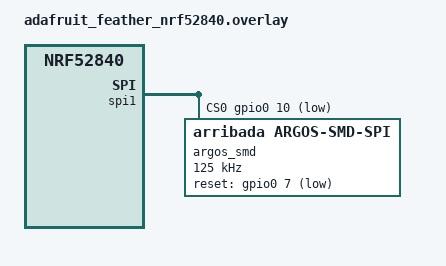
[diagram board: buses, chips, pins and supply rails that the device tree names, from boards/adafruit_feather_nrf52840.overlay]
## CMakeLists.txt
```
# Copyright (c) 2025 Arribada Initiative
# SPDX-License-Identifier: Apache-2.0

cmake_minimum_required(VERSION 3.20.0)
find_package(Zephyr REQUIRED HINTS $ENV{ZEPHYR_BASE})
project(spi_debug)

target_sources(app PRIVATE src/main.c)
```

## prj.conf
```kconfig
# Copyright (c) 2025 Arribada Initiative
# SPDX-License-Identifier: Apache-2.0

# Logging
CONFIG_LOG=y
CONFIG_LOG_DEFAULT_LEVEL=3
CONFIG_LOG_MODE_IMMEDIATE=y

# RTT Console for logs (via J-Link)
CONFIG_USE_SEGGER_RTT=y
CONFIG_RTT_CONSOLE=y
CONFIG_UART_CONSOLE=n
CONFIG_CONSOLE=y

# SPI support
CONFIG_SPI=y
CONFIG_SPI_LOG_LEVEL_WRN=y

# GPIO for CS/IRQ/Reset pins
CONFIG_GPIO=y

# Argos SMD SPI driver
CONFIG_ARGOS_SMD=y
CONFIG_ARGOS_SMD_SPI=y
CONFIG_ARGOS_SMD_LOG_LEVEL_DBG=y

# Main stack size
CONFIG_MAIN_STACK_SIZE=4096
```

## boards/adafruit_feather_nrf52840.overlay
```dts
/*
 * Copyright (c) 2025 Arribada Initiative
 * SPDX-License-Identifier: Apache-2.0
 *
 * SPI Debug overlay for Adafruit Feather nRF52840
 *
 * Wiring (Feather -> Argos SMD/STM32):
 * - SCK  (P0.14) -> SPI_CLK  (STM32 PA1)
 * - MOSI (P0.13) -> SPI_MOSI (STM32 PB5)
 * - MISO (P0.15) -> SPI_MISO (STM32 PB4)
 * - CS   (P0.10) -> SPI_NSS  (STM32 PA15)
 * - RST  (P0.07) -> RESET    (optional)
 */

/* Disable NFC to use P0.09/P0.10 as GPIO */
&uicr {
	nfct-pins-as-gpios;
};

&spi1 {
	compatible = "nordic,nrf-spim";
	status = "okay";
	cs-gpios = <&gpio0 10 GPIO_ACTIVE_LOW>;

	argos_smd: argos-smd@0 {
		compatible = "arribada,argos-smd-spi";
		reg = <0>;
		spi-max-frequency = <125000>;  /* 125 kHz - minimum for nRF52840 */
		reset-gpios = <&gpio0 7 GPIO_ACTIVE_LOW>;
	};
};
```

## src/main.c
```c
/*
 * Copyright (c) 2025 Arribada Initiative
 * SPDX-License-Identifier: Apache-2.0
 *
 * SPI Debug Sample - Pipelined Single-Transaction Protocol
 *
 * This sample tests the pipelined SPI protocol:
 * - Each transaction is 64 bytes
 * - Master sends command, slave sends response to PREVIOUS command
 * - For immediate response, send command then NOP
 */

#include <zephyr/kernel.h>
#include <zephyr/device.h>
#include <zephyr/drivers/spi.h>
#include <zephyr/drivers/gpio.h>
#include <zephyr/logging/log.h>
#include <string.h>
#include <stdio.h>
#include <errno.h>

LOG_MODULE_REGISTER(spi_debug, LOG_LEVEL_DBG);

/* Get SPI bus from devicetree */
#define SPI_NODE DT_NODELABEL(spi1)
static const struct device *spi_dev = DEVICE_DT_GET(SPI_NODE);

/* CS GPIO - get from spi1 cs-gpios */
static const struct gpio_dt_spec cs_gpio = GPIO_DT_SPEC_GET_BY_IDX(SPI_NODE, cs_gpios, 0);

/* SPI config - Mode 0, 8-bit, MSB first */
static struct spi_config spi_cfg = {
	.frequency = 125000,  /* 125 kHz */
	.operation = SPI_WORD_SET(8) | SPI_TRANSFER_MSB | SPI_OP_MODE_MASTER,
	.slave = 0,
	.cs = {
		.gpio = GPIO_DT_SPEC_GET_BY_IDX(SPI_NODE, cs_gpios, 0),
		.delay = 0,
	},
};

/* Protocol constants */
#define SPI_TRANSACTION_SIZE  64   /* Fixed transaction size */
#define MAGIC_REQUEST         0xAA
#define MAGIC_RESPONSE        0x55
#define IDLE_PATTERN          0xAA

/* Commands - must match argos_smd_spi.h */
#define CMD_NOP         0x00  /* No operation - just to get previous response */
#define CMD_PING        0x02  /* ARGOS_SPI_CMD_PING */
#define CMD_GET_VERSION 0x05  /* ARGOS_SPI_CMD_READ_VERSION */
#define CMD_GET_ADDR    0x07  /* ARGOS_SPI_CMD_READ_ADDR */
#define CMD_GET_ID      0x08  /* ARGOS_SPI_CMD_READ_ID */
#define CMD_GET_SN      0x09  /* ARGOS_SPI_CMD_READ_SN */
#define CMD_GET_RCONF   0x0A  /* ARGOS_SPI_CMD_READ_RCONF */

/* Timing */
#define INTER_TRANSACTION_DELAY_MS  5   /* Small delay between transactions */
#define INTER_TEST_DELAY_MS         100 /* Delay between tests */

/* Sequence number */
static uint8_t g_seq_num = 0;

/* Test statistics */
static int tests_passed = 0;
static int tests_failed = 0;

/* CRC-8 CCITT */
static uint8_t crc8_ccitt(const uint8_t *data, size_t len)
{
	uint8_t crc = 0x00;
	for (size_t i = 0; i < len; i++) {
		crc ^= data[i];
		for (int bit = 0; bit < 8; bit++) {
			if (crc & 0x80) {
				crc = (crc << 1) ^ 0x07;
			} else {
				crc <<= 1;
			}
		}
	}
	return crc;
}

/**
 * @brief Do a single 64-byte SPI transaction
 *
 * @param tx_buf TX buffer (64 bytes)
 * @param rx_buf RX buffer (64 bytes)
 * @return 0 on success, negative on error
 */
static int spi_transaction(uint8_t *tx_buf, uint8_t *rx_buf)
{
	struct spi_buf spi_tx = { .buf = tx_buf, .len = SPI_TRANSACTION_SIZE };
	struct spi_buf spi_rx = { .buf = rx_buf, .len = SPI_TRANSACTION_SIZE };
	struct spi_buf_set tx_set = { .buffers = &spi_tx, .count = 1 };
	struct spi_buf_set rx_set = { .buffers = &spi_rx, .count = 1 };

	return spi_transceive(spi_dev, &spi_cfg, &tx_set, &rx_set);
}

/**
 * @brief Build a command frame in buffer
 *
 * @param buf Output buffer (must be SPI_TRANSACTION_SIZE bytes)
 * @param cmd Command byte
 * @param data Optional command data
 * @param data_len Length of data
 * @return Frame length
 */
static size_t build_command_frame(uint8_t *buf, uint8_t cmd,
				  const uint8_t *data, size_t data_len)
{
	/* Build frame: MAGIC SEQ CMD LEN DATA CRC */
	buf[0] = MAGIC_REQUEST;
	buf[1] = g_seq_num++;
	buf[2] = cmd;
	buf[3] = (uint8_t)data_len;

	if (data_len > 0 && data != NULL) {
		memcpy(&buf[4], data, data_len);
	}

	buf[4 + data_len] = crc8_ccitt(buf, 4 + data_len);

	/* Fill rest with 0xFF */
	size_t frame_len = 5 + data_len;
	memset(&buf[frame_len], 0xFF, SPI_TRANSACTION_SIZE - frame_len);

	return frame_len;
}

/**
 * @brief Find response in RX buffer
 *
 * @param rx_buf RX buffer
 * @param status Output: response status
 * @param data Output: response data (optional)
 * @param data_len In/Out: data buffer size / received data length
 * @return 0 if response found, -1 if not found
 */
static int parse_response(const uint8_t *rx_buf, uint8_t *status,
			  uint8_t *data, size_t *data_len)
{
	/* Find response magic, skipping idle pattern */
	int offset = 0;
	while (offset < SPI_TRANSACTION_SIZE - 5) {
		if (rx_buf[offset] == MAGIC_RESPONSE) {
			break;
		}
		if (rx_buf[offset] != IDLE_PATTERN && rx_buf[offset] != 0xFF) {
			/* Unknown pattern - might be partial response */
			break;
		}
		offset++;
	}

	if (offset >= SPI_TRANSACTION_SIZE - 5 || rx_buf[offset] != MAGIC_RESPONSE) {
		return -1;  /* No valid response */
	}

	/* Parse response: MAGIC SEQ STATUS LEN DATA CRC */
	uint8_t rsp_status = rx_buf[offset + 2];
	uint8_t rsp_len = rx_buf[offset + 3];

	if (status) {
		*status = rsp_status;
	}

	if (data && data_len && rsp_len > 0) {
		size_t copy_len = (rsp_len < *data_len) ? rsp_len : *data_len;
		memcpy(data, &rx_buf[offset + 4], copy_len);
		*data_len = copy_len;
	} else if (data_len) {
		*data_len = 0;
	}

	return 0;
}

/**
 * @brief Send command and get response using pipelined protocol
 *
 * Sends two transactions:
 * 1. Send command, get previous response (ignore)
 * 2. Send NOP, get response to our command
 *
 * @return 0 on success, negative on error
 */
static int spi_send_command(uint8_t cmd, const uint8_t *tx_data, size_t tx_len,
			    uint8_t *rx_data, size_t *rx_len, uint8_t *status)
{
	uint8_t tx_buf[SPI_TRANSACTION_SIZE];
	uint8_t rx_buf[SPI_TRANSACTION_SIZE];
	int ret;

	if (!device_is_ready(spi_dev)) {
		LOG_ERR("SPI device not ready");
		return -ENODEV;
	}

	/* Transaction 1: Send command */
	size_t frame_len = build_command_frame(tx_buf, cmd, tx_data, tx_len);
	LOG_DBG("TX1 [%s]: %02X %02X %02X %02X %02X",
		cmd == CMD_NOP ? "NOP" : "CMD",
		tx_buf[0], tx_buf[1], tx_buf[2], tx_buf[3], tx_buf[4]);

	memset(rx_buf, 0x00, sizeof(rx_buf));
	ret = spi_transaction(tx_buf, rx_buf);
	if (ret < 0) {
		LOG_ERR("Transaction 1 failed: %d", ret);
		return ret;
	}

	LOG_DBG("RX1: %02X %02X %02X %02X %02X %02X %02X %02X",
		rx_buf[0], rx_buf[1], rx_buf[2], rx_buf[3],
		rx_buf[4], rx_buf[5], rx_buf[6], rx_buf[7]);

	/* Small delay for STM32 to process */
	k_msleep(INTER_TRANSACTION_DELAY_MS);

	/* Transaction 2: Send NOP to get response */
	build_command_frame(tx_buf, CMD_NOP, NULL, 0);
	LOG_DBG("TX2 [NOP]: %02X %02X %02X %02X %02X",
		tx_buf[0], tx_buf[1], tx_buf[2], tx_buf[3], tx_buf[4]);

	memset(rx_buf, 0x00, sizeof(rx_buf));
	ret = spi_transaction(tx_buf, rx_buf);
	if (ret < 0) {
		LOG_ERR("Transaction 2 failed: %d", ret);
		return ret;
	}

	LOG_DBG("RX2: %02X %02X %02X %02X %02X %02X %02X %02X",
		rx_buf[0], rx_buf[1], rx_buf[2], rx_buf[3],
		rx_buf[4], rx_buf[5], rx_buf[6], rx_buf[7]);

	/* Parse response */
	ret = parse_response(rx_buf, status, rx_data, rx_len);
	if (ret < 0) {
		LOG_ERR("No valid response (RX: %02X %02X %02X %02X)",
			rx_buf[0], rx_buf[1], rx_buf[2], rx_buf[3]);
		return -EBADMSG;
	}

	LOG_DBG("Response: STATUS=0x%02X LEN=%d", *status, rx_len ? (int)*rx_len : 0);
	return 0;
}

/* Test 1: GPIO status check */
static void test_gpio_status(void)
{
	LOG_INF("========================================");
	LOG_INF("TEST 1: GPIO STATUS CHECK");
	LOG_INF("========================================");

	LOG_INF("CS GPIO: Port=%s, Pin=%d",
		cs_gpio.port ? cs_gpio.port->name : "NULL", cs_gpio.pin);

	if (!gpio_is_ready_dt(&cs_gpio)) {
		LOG_ERR("CS GPIO NOT READY!");
		tests_failed++;
	} else {
		LOG_INF("CS GPIO: READY");
		tests_passed++;
	}
}

/* Test 2: Basic SPI communication */
static void test_basic_spi(void)
{
	LOG_INF("========================================");
	LOG_INF("TEST 2: BASIC SPI COMMUNICATION");
	LOG_INF("========================================");

	uint8_t tx_buf[SPI_TRANSACTION_SIZE];
	uint8_t rx_buf[SPI_TRANSACTION_SIZE];

	/* Send a simple transaction to check hardware */
	memset(tx_buf, 0xFF, sizeof(tx_buf));
	memset(rx_buf, 0xAB, sizeof(rx_buf));

	int ret = spi_transaction(tx_buf, rx_buf);
	if (ret < 0) {
		LOG_ERR("SPI transaction failed: %d", ret);
		tests_failed++;
		return;
	}

	LOG_INF("TX: FF FF FF FF ...");
	LOG_INF("RX: %02X %02X %02X %02X %02X %02X %02X %02X",
		rx_buf[0], rx_buf[1], rx_buf[2], rx_buf[3],
		rx_buf[4], rx_buf[5], rx_buf[6], rx_buf[7]);

	/* Check if we got something back */
	if (rx_buf[0] == 0xAB) {
		LOG_ERR("RX buffer unchanged - SPI RX not working");
		tests_failed++;
	} else if (rx_buf[0] == IDLE_PATTERN) {
		LOG_INF("Got idle pattern (0xAA) - STM32 is responding!");
		tests_passed++;
	} else if (rx_buf[0] == 0xFF) {
		LOG_WRN("Got 0xFF - MISO might be floating");
		tests_passed++;  /* Hardware works, just no slave response */
	} else {
		LOG_INF("Got pattern 0x%02X - communication OK", rx_buf[0]);
		tests_passed++;
	}
}

/* Test 3: PING command */
static void test_ping(void)
{
	LOG_INF("========================================");
	LOG_INF("TEST 3: PING (Pipelined Protocol)");
	LOG_INF("========================================");

	uint8_t status;
	int ret = spi_send_command(CMD_PING, NULL, 0, NULL, NULL, &status);

	if (ret == 0) {
		LOG_INF("PING OK - Status: 0x%02X", status);
		tests_passed++;
	} else {
		LOG_ERR("PING FAILED: %d", ret);
		tests_failed++;
	}
}

/* Test 4: Read device parameters */
static void test_read_parameters(void)
{
	LOG_INF("========================================");
	LOG_INF("TEST 4: READ DEVICE PARAMETERS");
	LOG_INF("========================================");

	uint8_t rx_data[32];
	size_t rx_len;
	uint8_t status;
	int ret;
	int local_pass = 0, local_fail = 0;

	struct {
		const char *name;
		uint8_t cmd;
	} cmds[] = {
		{ "GET_SN",    CMD_GET_SN },
		{ "GET_ID",    CMD_GET_ID },
		{ "GET_ADDR",  CMD_GET_ADDR },
		{ "GET_RCONF", CMD_GET_RCONF },
	};

	for (int i = 0; i < ARRAY_SIZE(cmds); i++) {
		LOG_INF("");
		LOG_INF("--- %s (0x%02X) ---", cmds[i].name, cmds[i].cmd);

		rx_len = sizeof(rx_data);
		memset(rx_data, 0, sizeof(rx_data));

		ret = spi_send_command(cmds[i].cmd, NULL, 0, rx_data, &rx_len, &status);

		if (ret == 0) {
			LOG_INF("%s OK - Status: 0x%02X, Len: %d",
				cmds[i].name, status, (int)rx_len);
			if (rx_len > 0) {
				/* For SN, print as string */
				if (cmds[i].cmd == CMD_GET_SN) {
					rx_data[rx_len] = '\0';  /* Null terminate */
					LOG_INF("  SN: \"%s\"", rx_data);
				} else {
					/* Print hex data */
					LOG_INF("  Data[%d]: %02X %02X %02X %02X %02X %02X %02X %02X",
						(int)rx_len,
						rx_data[0], rx_data[1], rx_data[2], rx_data[3],
						rx_data[4], rx_data[5], rx_data[6], rx_data[7]);
				}
			}
			local_pass++;
		} else {
			LOG_ERR("%s FAILED: %d", cmds[i].name, ret);
			local_fail++;
		}

		k_msleep(50);  /* Small delay between commands */
	}

	if (local_fail == 0) {
		tests_passed++;
		LOG_INF("All parameter reads passed");
	} else {
		tests_failed++;
		LOG_WRN("Parameter reads: %d passed, %d failed", local_pass, local_fail);
	}
}

/* Test 5: Continuous pipelined transactions */
static void test_continuous(void)
{
	LOG_INF("========================================");
	LOG_INF("TEST 5: CONTINUOUS TRANSACTIONS");
	LOG_INF("========================================");

	uint8_t tx_buf[SPI_TRANSACTION_SIZE];
	uint8_t rx_buf[SPI_TRANSACTION_SIZE];
	int success = 0;
	int fail = 0;

	LOG_INF("Sending 10 PING commands in sequence...");

	for (int i = 0; i < 10; i++) {
		/* Build PING command */
		build_command_frame(tx_buf, CMD_PING, NULL, 0);
		memset(rx_buf, 0, sizeof(rx_buf));

		int ret = spi_transaction(tx_buf, rx_buf);
		if (ret < 0) {
			LOG_ERR("Transaction %d failed: %d", i, ret);
			fail++;
			continue;
		}

		/* Check for valid response (from previous command) */
		if (i > 0) {  /* First response is garbage */
			uint8_t status;
			if (parse_response(rx_buf, &status, NULL, NULL) == 0) {
				success++;
				LOG_DBG("Transaction %d: got response status=0x%02X", i, status);
			} else {
				LOG_DBG("Transaction %d: no response (RX=%02X)", i, rx_buf[0]);
			}
		}

		k_msleep(5);  /* Small delay */
	}

	/* One more NOP to get last response */
	build_command_frame(tx_buf, CMD_NOP, NULL, 0);
	memset(rx_buf, 0, sizeof(rx_buf));
	spi_transaction(tx_buf, rx_buf);

	uint8_t status;
	if (parse_response(rx_buf, &status, NULL, NULL) == 0) {
		success++;
	}

	LOG_INF("Results: %d responses received out of 10 commands", success);

	if (success >= 8) {  /* Allow some margin */
		tests_passed++;
	} else {
		tests_failed++;
	}
}

int main(void)
{
	LOG_INF("");
	LOG_INF("========================================");
	LOG_INF("   SPI DEBUG - Pipelined Protocol");
	LOG_INF("========================================");
	LOG_INF("");
	LOG_INF("Protocol: Single-transaction pipelined");
	LOG_INF("Transaction size: %d bytes", SPI_TRANSACTION_SIZE);
	LOG_INF("SPI Frequency: %d Hz", spi_cfg.frequency);
	LOG_INF("Mode: 0 (CPOL=0, CPHA=0)");
	LOG_INF("");
	LOG_INF("How it works:");
	LOG_INF("  - Each transaction is 64 bytes");
	LOG_INF("  - Master sends CMD, gets response to PREVIOUS cmd");
	LOG_INF("  - For immediate response, send CMD then NOP");
	LOG_INF("");
	LOG_INF("Starting in 2 seconds...");
	k_msleep(2000);

	/* Run tests */
	test_gpio_status();
	k_msleep(INTER_TEST_DELAY_MS);

	test_basic_spi();
	k_msleep(INTER_TEST_DELAY_MS);

	test_ping();
	k_msleep(INTER_TEST_DELAY_MS);

	test_read_parameters();
	k_msleep(INTER_TEST_DELAY_MS);

	test_continuous();

	/* Summary */
	LOG_INF("");
	LOG_INF("========================================");
	LOG_INF("   TEST RESULTS");
	LOG_INF("========================================");
	LOG_INF("  Passed: %d", tests_passed);
	LOG_INF("  Failed: %d", tests_failed);
	LOG_INF("========================================");

	if (tests_failed > 0) {
		LOG_INF("");
		LOG_INF("Troubleshooting:");
		LOG_INF("  - Check wiring (SCK, MOSI, MISO, CS)");
		LOG_INF("  - Verify STM32 is running and SPI initialized");
		LOG_INF("  - Check STM32 debug log for errors");
	}

	return 0;
}
```
